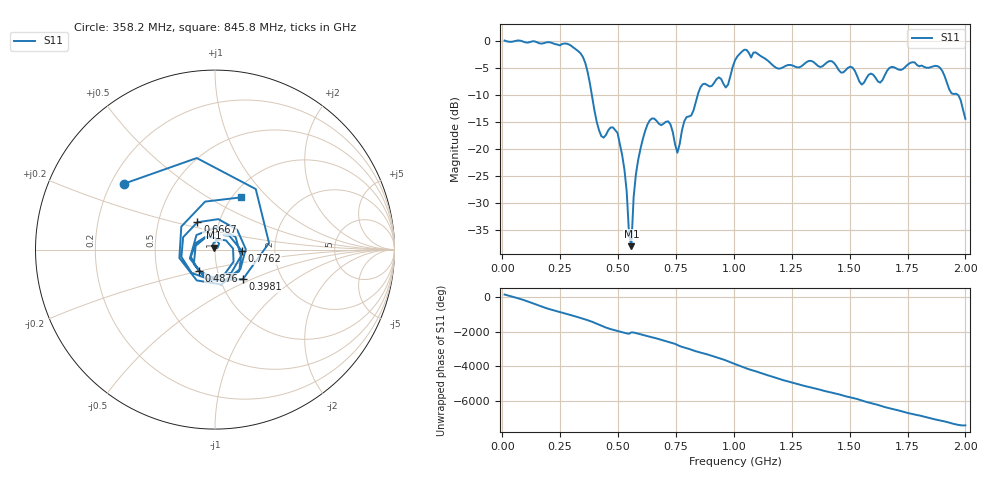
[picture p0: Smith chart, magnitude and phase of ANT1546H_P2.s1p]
!Created with skrf (http://scikit-rf.org).
# Hz S RI R 50.0
!freq ReS11 ImS11
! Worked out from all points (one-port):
!   201 points, 10 MHz to 2 GHz, reference 50 ohm
!   lowest |S11| = -38.0 dB at 557.2 MHz (marker M1), VSWR 1.03, Z = 49.4 + j1.1 ohm
!   |S11| at or under -10 dB: 386.7 MHz to 844 MHz (457.3 MHz wide, 74.3 % of centre); 1.968 GHz to end of sweep
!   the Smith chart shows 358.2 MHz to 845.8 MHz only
!   S11 on the Smith chart (normalised r, x): 358.2 MHz: 0.25, +0.30; 398.1 MHz: 1.28, -0.45; 487.6 MHz: 0.81, -0.20; 666.7 MHz: 0.79, +0.25; 776.1 MHz: 1.35, -0.02; 845.8 MHz: 1.10, +0.72
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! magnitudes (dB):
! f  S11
! 10 MHz  0.1
! 258.8 MHz  -0.5
! 358.2 MHz  -4.0
! 398.1 MHz  -12.9
! 427.9 MHz  -17.6
! 487.6 MHz  -16.5
! 507.5 MHz  -19.0
! 527.4 MHz  -23.8
! 547.3 MHz  -35.7
! 557.2 MHz  -38.0
! 567.2 MHz  -29.0
! 587.1 MHz  -22.0
! 626.9 MHz  -15.5
! 666.7 MHz  -14.8
! 726.4 MHz  -15.5
! 756.2 MHz  -20.7
! 776.1 MHz  -16.5
! 845.8 MHz  -9.7
! 935.4 MHz  -6.7
! 965.2 MHz  -8.6
! 1.005 GHz  -3.6
! 1.055 GHz  -1.6
! 1.254 GHz  -4.5
! 1.502 GHz  -4.8
! 1.552 GHz  -8.1
! 1.751 GHz  -4.4
! 1.891 GHz  -5.0
! 2 GHz  -14.4
